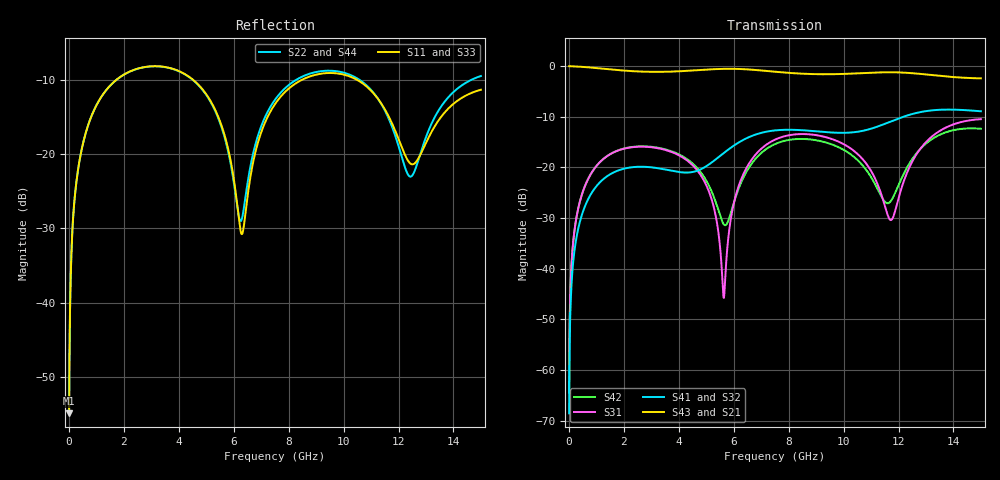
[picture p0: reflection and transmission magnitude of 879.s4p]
! Created with skrf 1.8.0 (http://scikit-rf.org).
# GHz S RI R 50.0
!freq ReS11 ImS11 ReS12 ImS12 ReS13 ImS13
! ReS14 ImS14
! ReS21 ImS21 ReS22 ImS22 ReS23 ImS23
! ReS24 ImS24
! ReS31 ImS31 ReS32 ImS32 ReS33 ImS33
! ReS34 ImS34
! ReS41 ImS41 ReS42 ImS42 ReS43 ImS43
! ReS44 ImS44
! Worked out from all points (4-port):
!   2499 points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, 5 MHz to 15 GHz, reference 50 ohm
!   strongest paths, dB at 5 MHz, 3.476 GHz, 7.19 GHz, 11.1 GHz, 15 GHz:
!     S43: 0.0, -1.1, -1.0, -1.3, -2.4
!     S21: 0.0, -1.1, -1.0, -1.3, -2.4
!     S41: -68.6, -20.4, -13.0, -12.2, -8.9
!     S32: -68.6, -20.5, -13.0, -12.2, -9.1
!     S31: -64.5, -16.5, -15.5, -21.7, -10.5
!     S42: -64.5, -16.4, -16.4, -22.8, -12.4
!   lowest |S11| = -54.9 dB at 5 MHz (marker M1), VSWR 1.00, Z = 50.1 + j0.109 ohm
!   |S11| at or under -10 dB: start of sweep to 1.717 GHz; 4.53 GHz to 8.468 GHz (3.938 GHz wide, 60.6 % of centre); 10.5 GHz to end of sweep
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0.005  0.00143 0.00109  0.9985 -0.00279  7.21e-05 0.00059  -7e-05 -0.000366
       0.9985 -0.00279  0.00143 0.00109  -7e-05 -0.000366  7.22e-05 0.00059
       7.21e-05 0.00059  -7e-05 -0.000366  0.00143 0.00109  0.9985 -0.00279
       -7e-05 -0.000366  7.22e-05 0.00059  0.9985 -0.00279  0.00143 0.00109
0.3126303  0.0192 0.0722  0.9739 -0.1745  0.00885 0.0355  -0.00739 -0.0219
           0.9739 -0.1745  0.0192 0.0722  -0.00738 -0.0219  0.00895 0.0355
           0.00885 0.0355  -0.00738 -0.0219  0.0192 0.0722  0.9739 -0.1745
           -0.00739 -0.0219  0.00895 0.0355  0.9739 -0.1745  0.0192 0.0722
1.569404  0.2324 0.1881  0.6261 -0.6801  0.1165 0.0743  -0.0856 -0.0186
          0.6261 -0.6801  0.2321 0.1882  -0.0854 -0.0188  0.1181 0.0725
          0.1165 0.0743  -0.0854 -0.0188  0.2325 0.188  0.6261 -0.6801
          -0.0856 -0.0186  0.1181 0.0725  0.6261 -0.6801  0.2319 0.1883
5.633597  0.0675 -0.1237  -0.8635 -0.3698  0.00513 0.000451  -0.0488 0.1295
          -0.8635 -0.3698  0.0706 -0.1173  -0.0516 0.1284  -0.0245 -0.0126
          0.00513 0.000451  -0.0516 0.1284  0.0668 -0.1231  -0.8637 -0.3698
          -0.0488 0.1295  -0.0245 -0.0126  -0.8637 -0.3698  0.0707 -0.1163
6.2401  0.0285 -0.0125  -0.9331 -0.0733  0.0207 0.0697  -0.00795 0.1799
        -0.9331 -0.0733  0.0352 -0.00453  -0.0117 0.1797  -0.0171 0.0658
        0.0207 0.0697  -0.0117 0.1797  0.0282 -0.0113  -0.9332 -0.0732
        -0.00795 0.1799  -0.0171 0.0658  -0.9332 -0.0732  0.0354 -0.00378
10.18549  0.325 -0.0867  0.1793 0.8217  0.1081 -0.1159  0.1946 -0.103
          0.1793 0.8217  0.3282 -0.1088  0.1966 -0.0944  0.107 -0.0886
          0.1081 -0.1159  0.1966 -0.0944  0.3276 -0.0888  0.1783 0.8213
          0.1946 -0.103  0.107 -0.0886  0.1783 0.8213  0.3289 -0.1071
15  0.2682 0.0456  0.4132 -0.6328  0.2969 -0.0385  -0.3449 -0.096
    0.4132 -0.6328  0.334 0.043  -0.3331 -0.1096  0.2331 0.0597
    0.2969 -0.0385  -0.3331 -0.1096  0.277 0.0359  0.4157 -0.6324
    -0.3449 -0.096  0.2331 0.0597  0.4157 -0.6324  0.322 0.0495
